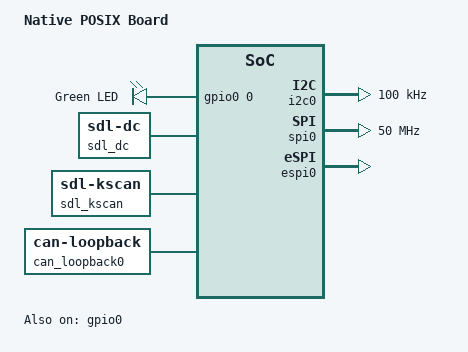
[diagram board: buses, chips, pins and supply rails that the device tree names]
/*
 * Copyright (c) 2019 Jan Van Winkel (jan.van_winkel@dxplore.eu)
 *
 * SPDX-License-Identifier: Apache-2.0
 */

/dts-v1/;
#include <posix/posix.dtsi>
#include <zephyr/dt-bindings/i2c/i2c.h>
#include <zephyr/dt-bindings/gpio/gpio.h>

/ {
	model = "Native POSIX Board";
	compatible = "zephyr,posix";

	chosen {
		zephyr,console = &uart0;
		zephyr,shell-uart = &uart0;
		zephyr,uart-mcumgr = &uart0;
		zephyr,flash = &flash0;
		zephyr,entropy = &rng;
		zephyr,flash-controller = &flashcontroller0;
		zephyr,ec-host-interface = &hcp;
		zephyr,display = &sdl_dc;
		zephyr,canbus = &can_loopback0;
		zephyr,keyboard-scan = &sdl_kscan;
	};

	aliases {
		eeprom-0 = &eeprom0;
		i2c-0 = &i2c0;
		spi-0 = &spi0;
		led0 = &led0;
		kscan0 = &sdl_kscan;
	};

	leds {
		compatible = "gpio-leds";
		led0: led_0 {
			gpios = <&gpio0 0 GPIO_ACTIVE_HIGH>;
			label = "Green LED";
		};
	};

	cpus {
		#address-cells = <1>;
		#size-cells = <0>;

		cpu0: cpu@0 {
			compatible = "zephyr,native-posix-cpu";
			reg = <0>;
		};
	};

	flashcontroller0: flash-controller@0 {
		compatible = "zephyr,sim-flash";
		reg = <0x00000000 DT_SIZE_K(2048)>;

		#address-cells = <1>;
		#size-cells = <1>;
		erase-value = <0xff>;

		flash0: flash@0 {
			status = "okay";
			compatible = "soc-nv-flash";
			erase-block-size = <4096>;
			write-block-size = <1>;
			reg = <0x00000000 DT_SIZE_K(2048)>;

			partitions {
				compatible = "fixed-partitions";
				#address-cells = <1>;
				#size-cells = <1>;

				boot_partition: partition@0 {
					label = "mcuboot";
					reg = <0x00000000 0x0000C000>;
				};
				slot0_partition: partition@c000 {
					label = "image-0";
					reg = <0x0000C000 0x00069000>;
				};
				slot1_partition: partition@75000 {
					label = "image-1";
					reg = <0x00075000 0x00069000>;
				};
				scratch_partition: partition@de000 {
					label = "image-scratch";
					reg = <0x000de000 0x0001e000>;
				};
				storage_partition: partition@fc000 {
					label = "storage";
					reg = <0x000fc000 0x00004000>;
				};
			};
		};
	};

	eeprom0: eeprom {
		status = "okay";
		compatible = "zephyr,sim-eeprom";
		size = <DT_SIZE_K(32)>;
	};

	i2c0: i2c@100 {
		status = "okay";
		compatible = "zephyr,i2c-emul-controller";
		clock-frequency = <I2C_BITRATE_STANDARD>;
		#address-cells = <1>;
		#size-cells = <0>;
		reg = <0x100 4>;
	};

	spi0: spi@200 {
		status = "okay";
		compatible = "zephyr,spi-emul-controller";
		clock-frequency = <50000000>;
		#address-cells = <1>;
		#size-cells = <0>;
		reg = <0x200 4>;
	};

	espi0: espi@300 {
		status = "okay";
		compatible = "zephyr,espi-emul-controller";
		reg = <0x300 4>;
		#address-cells = <1>;
		#size-cells = <0>;
	};

	uart0: uart {
		status = "okay";
		compatible = "zephyr,native-posix-uart";
		/* Dummy current-speed entry to comply with serial
		 * DTS binding
		 */
		current-speed = <0>;
	};

	uart1: uart_1 {
		status = "okay";
		compatible = "zephyr,native-posix-uart";
		/* Dummy current-speed entry to comply with serial
		 * DTS binding
		 */
		current-speed = <0>;
	};

	rng: rng {
		status = "okay";
		compatible = "zephyr,native-posix-rng";
	};

	counter0: counter {
		status = "okay";
		compatible = "zephyr,native-posix-counter";
	};

	hcp: ec-host-cmd-periph {
		status = "okay";
		compatible = "zephyr,sim-ec-host-cmd-periph";
	};

	gpio0: gpio@800 {
		status = "okay";
		compatible = "zephyr,gpio-emul";
		reg = <0x800 0x4>;
		rising-edge;
		falling-edge;
		high-level;
		low-level;
		gpio-controller;
		#gpio-cells = <2>;
	};

	zephyr_udc0: udc0 {
		compatible = "zephyr,native-posix-udc";
	};

	sdl_dc: sdl_dc {
		compatible = "zephyr,sdl-dc";
		height = <240>;
		width = <320>;
	};

	sdl_kscan: sdl_kscan {
		compatible = "zephyr,sdl-kscan";
	};

	can_loopback0: can_loopback0 {
		status = "okay";
		compatible = "zephyr,can-loopback";
		sjw = <1>;
		sample-point = <875>;
		bus-speed = <125000>;
	};

	can0: can {
		status = "disabled";
		compatible = "zephyr,native-posix-linux-can";
		/* adjust zcan0 to desired host interface or create an alternative
		 * name, e.g.: sudo ip link property add dev vcan0 altname zcan0
		 */
		host-interface = "zcan0";
		sjw = <1>;
		sample-point = <875>;
		bus-speed = <125000>;
	};
};
